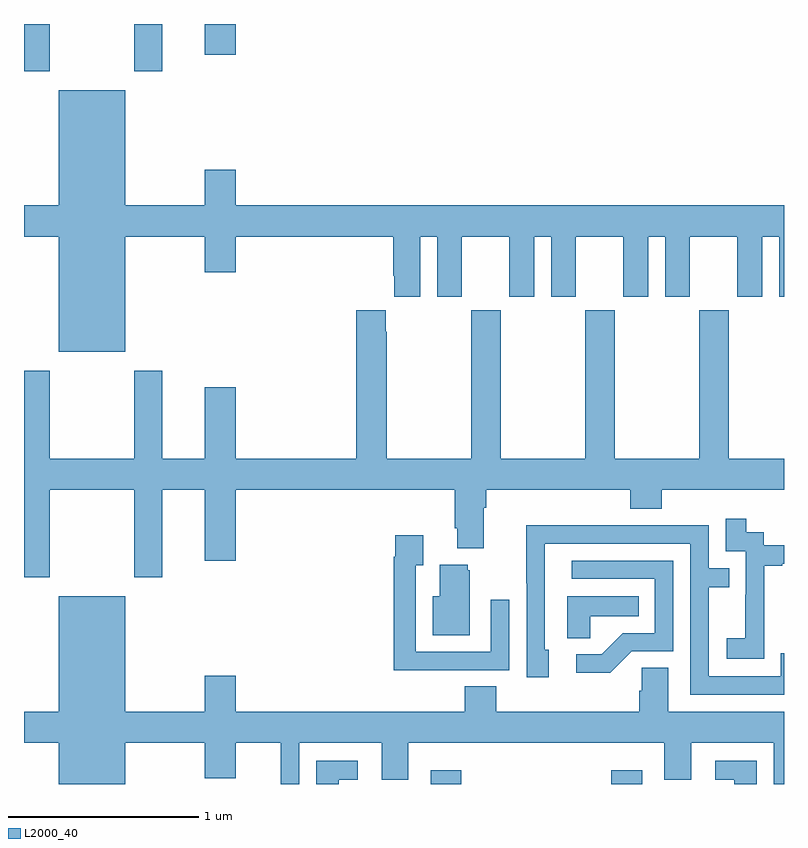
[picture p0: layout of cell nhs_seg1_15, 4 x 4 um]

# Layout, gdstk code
import gdstk
lib = gdstk.Library(unit=1e-6, precision=1e-09)
def R(c, l, rs):  # rectangles x0, y0, x1, y1
    for r in rs: c.add(gdstk.rectangle(r[:2], r[2:], *l))
def P(c, l, *ps):  # polygons
    for p in ps: c.add(gdstk.Polygon(p, *l))
L2000_40 = (2000, 40)

nhs_seg1_15 = lib.new_cell('nhs_seg1_15')
R(nhs_seg1_15, L2000_40, [(113.141,534.199,113.302,534.271), (114.092,534.199,114.253,534.271), (111,537.951,111.135,538.199), (111.58,537.951,111.727,538.199), (111.95,538.038,112.114,538.199)])
P(nhs_seg1_15, L2000_40, [(111.532,537.08),(111.95,537.08),(111.95,536.892),(112.114,536.892),(112.114,537.08),(112.943,537.08),(112.943,536.875),(112.949,536.875),(112.949,536.763),(113.086,536.763),(113.086,537.08),(113.174,537.08),(113.174,536.763),(113.305,536.763),(113.305,537.08),(113.555,537.08),(113.555,536.763),(113.686,536.763),(113.686,537.08),(113.774,537.08),(113.774,536.763),(113.905,536.763),(113.905,537.08),(114.155,537.08),(114.155,536.763),(114.286,536.763),(114.286,537.08),(114.374,537.08),(114.374,536.763),(114.505,536.763),(114.505,537.08),(114.755,537.08),(114.755,536.763),(114.886,536.763),(114.886,537.08),(114.974,537.08),(114.974,536.763),(115,536.763),(115,537.244),(112.114,537.244),(112.114,537.433),(111.95,537.433),(111.95,537.244),(111.532,537.244),(111.532,537.85),(111.182,537.85),(111.182,537.244),(111,537.244),(111,537.08),(111.182,537.08),(111.182,536.474),(111.532,536.474)],
  [(111.135,535.748),(111.58,535.748),(111.58,535.287),(111.727,535.287),(111.727,535.748),(111.95,535.748),(111.95,535.374),(112.114,535.374),(112.114,535.748),(113.267,535.748),(113.267,535.546),(113.279,535.546),(113.279,535.439),(113.419,535.439),(113.419,535.652),(113.432,535.652),(113.432,535.748),(114.191,535.748),(114.191,535.649),(114.356,535.649),(114.356,535.748),(115,535.748),(115,535.912),(114.708,535.912),(114.708,536.692),(114.553,536.692),(114.553,535.912),(114.108,535.912),(114.108,536.692),(113.953,536.692),(113.953,535.912),(113.508,535.912),(113.508,536.692),(113.353,536.692),(113.353,535.912),(112.908,535.912),(112.908,536.579),(112.903,536.579),(112.903,536.692),(112.748,536.692),(112.748,535.912),(112.114,535.912),(112.114,536.287),(111.95,536.287),(111.95,535.912),(111.727,535.912),(111.727,536.374),(111.58,536.374),(111.58,535.912),(111.135,535.912),(111.135,536.374),(111,536.374),(111,535.287),(111.135,535.287)],
  [(114.897,535.063),(114.896,535.063),(114.896,535.347),(114.991,535.347),(114.991,535.359),(115,535.359),(115,535.455),(114.894,535.455),(114.894,535.524),(114.802,535.524),(114.802,535.594),(114.693,535.594),(114.693,535.425),(114.798,535.425),(114.798,535.196),(114.797,535.196),(114.797,534.967),(114.699,534.967),(114.699,534.857),(114.897,534.857)],
  [(115,534.888),(114.984,534.888),(114.984,534.765),(114.603,534.765),(114.603,535.234),(114.713,535.234),(114.713,535.335),(114.603,535.335),(114.603,535.56),(114.107,535.56),(114.107,535.562),(113.644,535.562),(113.644,535.255),(113.646,535.255),(113.646,534.762),(113.761,534.762),(113.761,534.906),(113.742,534.906),(113.742,535.464),(114.507,535.464),(114.507,534.669),(115,534.669)],
  [(113.237,534.798),(113.553,534.798),(113.553,535.168),(113.457,535.168),(113.457,534.894),(113.061,534.894),(113.061,535.351),(113.101,535.351),(113.101,535.507),(112.953,535.507),(112.953,535.394),(112.945,535.394),(112.945,534.797),(113.237,534.797)],
  [(114.198,534.897),(114.417,534.897),(114.417,535.374),(113.883,535.374),(113.883,535.278),(114.321,535.278),(114.321,534.993),(114.152,534.993),(114.041,534.882),(113.907,534.882),(113.907,534.785),(114.085,534.785)],
  [(113.347,535.323),(113.336,535.323),(113.336,535.354),(113.189,535.354),(113.189,535.186),(113.15,535.186),(113.15,534.983),(113.347,534.983)],
  [(111.532,534.416),(111.95,534.416),(111.95,534.228),(112.114,534.228),(112.114,534.416),(112.351,534.416),(112.351,534.199),(112.449,534.199),(112.449,534.416),(112.883,534.416),(112.883,534.222),(113.023,534.222),(113.023,534.416),(114.371,534.416),(114.371,534.222),(114.511,534.222),(114.511,534.416),(114.945,534.416),(114.945,534.199),(115,534.199),(115,534.58),(114.391,534.58),(114.391,534.812),(114.252,534.812),(114.252,534.689),(114.239,534.689),(114.239,534.58),(113.486,534.58),(113.486,534.713),(113.321,534.713),(113.321,534.58),(112.114,534.58),(112.114,534.769),(111.95,534.769),(111.95,534.58),(111.532,534.58),(111.532,535.186),(111.182,535.186),(111.182,534.58),(111,534.58),(111,534.416),(111.182,534.416),(111.182,534.199),(111.532,534.199)],
  [(113.979,535.082),(114.236,535.082),(114.236,535.186),(113.858,535.186),(113.858,534.967),(113.979,534.967)],
  [(112.657,534.221),(112.756,534.221),(112.756,534.322),(112.538,534.322),(112.538,534.199),(112.657,534.199)],
  [(114.856,534.322),(114.639,534.322),(114.639,534.221),(114.737,534.221),(114.737,534.199),(114.856,534.199)])

lib.write_gds('nhs_seg1_15.gds')
